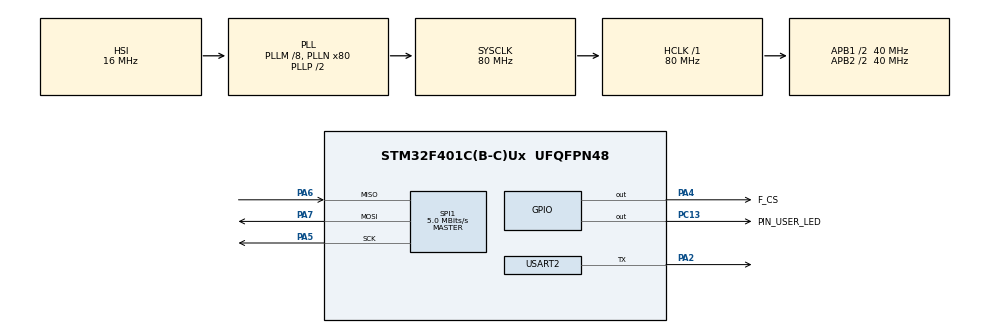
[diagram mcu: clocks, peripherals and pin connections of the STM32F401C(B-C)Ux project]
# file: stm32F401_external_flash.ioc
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Mcu.Family=STM32F4
Mcu.Name=STM32F401C(B-C)Ux
Mcu.Package=UFQFPN48
NVIC.PriorityGroup=NVIC_PRIORITYGROUP_4
PA13.Mode=Serial_Wire
PA13.Signal=SYS_JTMS-SWDIO
PA14.Mode=Serial_Wire
PA14.Signal=SYS_JTCK-SWCLK
PA2.Mode=Half_duplex(single_wire_mode)
PA2.Signal=USART2_TX
PA4.GPIO_Label=F_CS
PA4.GPIO_PuPd=GPIO_NOPULL
PA4.GPIO_Speed=GPIO_SPEED_FREQ_VERY_HIGH
PA4.PinState=GPIO_PIN_SET
PA4.Signal=GPIO_Output
PA5.Mode=Full_Duplex_Master
PA5.Signal=SPI1_SCK
PA6.Mode=Full_Duplex_Master
PA6.Signal=SPI1_MISO
PA7.Mode=Full_Duplex_Master
PA7.Signal=SPI1_MOSI
PC13-ANTI_TAMP.GPIO_Label=PIN_USER_LED
PC13-ANTI_TAMP.Signal=GPIO_Output
ProjectManager.HeapSize=0x200
ProjectManager.StackSize=0x400
ProjectManager.TargetToolchain=STM32CubeIDE
RCC.48MHZClocksFreq_Value=40000000
RCC.AHBFreq_Value=80000000
RCC.APB1CLKDivider=RCC_HCLK_DIV2
RCC.APB1Freq_Value=40000000
RCC.APB1TimFreq_Value=80000000
RCC.APB2CLKDivider=RCC_HCLK_DIV2
RCC.APB2Freq_Value=40000000
RCC.APB2TimFreq_Value=80000000
RCC.CortexFreq_Value=80000000
RCC.HCLKFreq_Value=80000000
RCC.HSE_VALUE=25000000
RCC.HSI_VALUE=16000000
RCC.LSE_VALUE=32768
RCC.PLLM=8
RCC.PLLN=80
RCC.SYSCLKFreq_VALUE=80000000
RCC.SYSCLKSource=RCC_SYSCLKSOURCE_PLLCLK
RCC.VCOOutputFreq_Value=160000000
SPI1.BaudRatePrescaler=SPI_BAUDRATEPRESCALER_8
SPI1.CLKPhase=SPI_PHASE_1EDGE
SPI1.CLKPolarity=SPI_POLARITY_LOW
SPI1.CalculateBaudRate=5.0 MBits/s
SPI1.Direction=SPI_DIRECTION_2LINES
SPI1.Mode=SPI_MODE_MASTER
SPI1.VirtualType=VM_MASTER
USART2.Mode=MODE_TX
USART2.Parity=PARITY_EVEN
USART2.VirtualMode=VM_ASYNC
board=custom

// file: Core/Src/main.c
/* USER CODE BEGIN Header */
/**
 ******************************************************************************
 * @file           : main.c
 * @brief          : Main program body
 ******************************************************************************
 * @attention
 *
 * Copyright (c) 2022 STMicroelectronics.
 * All rights reserved.
 *
 * This software is licensed under terms that can be found in the LICENSE file
 * in the root directory of this software component.
 * If no LICENSE file comes with this software, it is provided AS-IS.
 *
 ******************************************************************************
 */
/* USER CODE END Header */
#include "main.h"

SPI_HandleTypeDef hspi1;

UART_HandleTypeDef huart2;

void SystemClock_Config(void);
static void MX_GPIO_Init(void);
static void MX_USART2_UART_Init(void);
static void MX_SPI1_Init(void);

/* USER CODE BEGIN 0 */
#include <stdio.h>
#include "w25qxx.h"

int BUFFER_SIZE = 8;
uint8_t buffer1[] = { 1, 2, 3, 4, 5, 6, 7, 8 };
uint8_t buffer2[8];

#ifdef __GNUC__
/* With GCC, small printf (option LD Linker->Libraries->Small printf
 set to 'Yes') calls __io_putchar() */
#define PUTCHAR_PROTOTYPE int __io_putchar(int ch)
#else
#define PUTCHAR_PROTOTYPE int fputc(int ch, FILE *f)
#endif /* __GNUC__ */

//must have this to print in uart com port
PUTCHAR_PROTOTYPE {
	// Place your implementation of fputc here
	// e.g. write a character to the EVAL_COM1 and Loop until the end of transmission
	HAL_UART_Transmit(&huart2, (uint8_t*) &ch, 1, 0xFFFF);

	return ch;
}

void print_buff(const uint8_t *p, int size) {
	int i = 0;
	for (i = 0; i < size; i++) {

		printf("%u ", p[i]);
	}
}

/* USER CODE END 0 */

int main(void) {

	/* MCU Configuration--------------------------------------------------------*/

	/* Reset of all peripherals, Initializes the Flash interface and the Systick. */
	HAL_Init();

	/* Configure the system clock */
	SystemClock_Config();

	/* Initialize all configured peripherals */
	MX_GPIO_Init();
	MX_USART2_UART_Init();
	MX_SPI1_Init();
	/* USER CODE BEGIN 2 */

	HAL_Delay(200);

	HAL_GPIO_WritePin(F_CS_GPIO_Port, F_CS_Pin, GPIO_PIN_RESET);
	printf("go low\n");
	///printf("while looping\n\r");
	HAL_Delay(300);
	HAL_GPIO_WritePin(F_CS_GPIO_Port, F_CS_Pin, GPIO_PIN_SET);
	printf("go HI\n");
	HAL_Delay(100);

	/* USER CODE END 2 */

	/* Infinite loop */
	/* USER CODE BEGIN WHILE */
	printf("about to init flash lib\n");

	int r = W25qxx_Init();
	if (r == 0) {
		printf("flash init success\n\r");

	}
	printf("W25Qx_Para.FLASH_ID  %u\n", w25qxx.ID);
	if (W25Q32 == w25qxx.ID) {
		printf("W25Q32, size 32Mbit!!\n\r");
	}

	/*
	 if(W25Qx_Para.FLASH_ID < W25Q80 || W25Qx_Para.FLASH_ID > W25Q128)
	 {
	 // SPI Flash ID Error
	 printf("error");
	 }
	 if (W25Q32==W25Qx_Para.FLASH_ID)
	 {
	 printf("W25Q32, size 32Mbit!!\n\r");
	 }
	 */
	HAL_GPIO_WritePin(F_CS_GPIO_Port, F_CS_Pin, GPIO_PIN_RESET);

	W25qxx_EraseSector(1); //W25qxx_EraseChip();

	printf("erase done\n");
	W25qxx_WriteSector(buffer1, 1, 0, 8);
	W25qxx_ReadSector(buffer2, 1, 0, 8);

	printf("buff is ");
	print_buff(buffer2, BUFFER_SIZE);
	printf("about to while(1) \n\r");

	while (1) {

		/* USER CODE END WHILE */

	}
}

void SystemClock_Config(void) {
	RCC_OscInitTypeDef RCC_OscInitStruct = { 0 };
	RCC_ClkInitTypeDef RCC_ClkInitStruct = { 0 };

	/** Configure the main internal regulator output voltage
	 */
	__HAL_RCC_PWR_CLK_ENABLE();
	__HAL_PWR_VOLTAGESCALING_CONFIG(PWR_REGULATOR_VOLTAGE_SCALE2);

	/** Initializes the RCC Oscillators according to the specified parameters
	 * in the RCC_OscInitTypeDef structure.
	 */
	RCC_OscInitStruct.OscillatorType = RCC_OSCILLATORTYPE_HSI;
	RCC_OscInitStruct.HSIState = RCC_HSI_ON;
	RCC_OscInitStruct.HSICalibrationValue = RCC_HSICALIBRATION_DEFAULT;
	RCC_OscInitStruct.PLL.PLLState = RCC_PLL_ON;
	RCC_OscInitStruct.PLL.PLLSource = RCC_PLLSOURCE_HSI;
	RCC_OscInitStruct.PLL.PLLM = 8;
	RCC_OscInitStruct.PLL.PLLN = 80;
	RCC_OscInitStruct.PLL.PLLP = RCC_PLLP_DIV2;
	RCC_OscInitStruct.PLL.PLLQ = 4;
	if (HAL_RCC_OscConfig(&RCC_OscInitStruct) != HAL_OK) {
		Error_Handler();
	}

	/** Initializes the CPU, AHB and APB buses clocks
	 */
	RCC_ClkInitStruct.ClockType = RCC_CLOCKTYPE_HCLK | RCC_CLOCKTYPE_SYSCLK
			| RCC_CLOCKTYPE_PCLK1 | RCC_CLOCKTYPE_PCLK2;
	RCC_ClkInitStruct.SYSCLKSource = RCC_SYSCLKSOURCE_PLLCLK;
	RCC_ClkInitStruct.AHBCLKDivider = RCC_SYSCLK_DIV1;
	RCC_ClkInitStruct.APB1CLKDivider = RCC_HCLK_DIV2;
	RCC_ClkInitStruct.APB2CLKDivider = RCC_HCLK_DIV2;

	if (HAL_RCC_ClockConfig(&RCC_ClkInitStruct, FLASH_LATENCY_2) != HAL_OK) {
		Error_Handler();
	}
}

static void MX_SPI1_Init(void) {

	/* SPI1 parameter configuration*/
	hspi1.Instance = SPI1;
	hspi1.Init.Mode = SPI_MODE_MASTER;
	hspi1.Init.Direction = SPI_DIRECTION_2LINES;
	hspi1.Init.DataSize = SPI_DATASIZE_8BIT;
	hspi1.Init.CLKPolarity = SPI_POLARITY_LOW;
	hspi1.Init.CLKPhase = SPI_PHASE_1EDGE;
	hspi1.Init.NSS = SPI_NSS_SOFT;
	hspi1.Init.BaudRatePrescaler = SPI_BAUDRATEPRESCALER_8;
	hspi1.Init.FirstBit = SPI_FIRSTBIT_MSB;
	hspi1.Init.TIMode = SPI_TIMODE_DISABLE;
	hspi1.Init.CRCCalculation = SPI_CRCCALCULATION_DISABLE;
	hspi1.Init.CRCPolynomial = 10;
	if (HAL_SPI_Init(&hspi1) != HAL_OK) {
		Error_Handler();
	}

}

static void MX_USART2_UART_Init(void) {

	huart2.Instance = USART2;
	huart2.Init.BaudRate = 115200;
	huart2.Init.WordLength = UART_WORDLENGTH_8B;
	huart2.Init.StopBits = UART_STOPBITS_1;
	huart2.Init.Parity = UART_PARITY_EVEN;
	huart2.Init.Mode = UART_MODE_TX;
	huart2.Init.HwFlowCtl = UART_HWCONTROL_NONE;
	huart2.Init.OverSampling = UART_OVERSAMPLING_16;
	if (HAL_HalfDuplex_Init(&huart2) != HAL_OK) {
		Error_Handler();
	}

}

static void MX_GPIO_Init(void) {
	GPIO_InitTypeDef GPIO_InitStruct = { 0 };

	/* GPIO Ports Clock Enable */
	__HAL_RCC_GPIOC_CLK_ENABLE();
	__HAL_RCC_GPIOA_CLK_ENABLE();

	/*Configure GPIO pin Output Level */
	HAL_GPIO_WritePin(PIN_USER_LED_GPIO_Port, PIN_USER_LED_Pin, GPIO_PIN_RESET);

	/*Configure GPIO pin Output Level */
	HAL_GPIO_WritePin(F_CS_GPIO_Port, F_CS_Pin, GPIO_PIN_SET);

	/*Configure GPIO pin : PIN_USER_LED_Pin */
	GPIO_InitStruct.Pin = PIN_USER_LED_Pin;
	GPIO_InitStruct.Mode = GPIO_MODE_OUTPUT_PP;
	GPIO_InitStruct.Pull = GPIO_NOPULL;
	GPIO_InitStruct.Speed = GPIO_SPEED_FREQ_LOW;
	HAL_GPIO_Init(PIN_USER_LED_GPIO_Port, &GPIO_InitStruct);

	/*Configure GPIO pin : F_CS_Pin */
	GPIO_InitStruct.Pin = F_CS_Pin;
	GPIO_InitStruct.Mode = GPIO_MODE_OUTPUT_PP;
	GPIO_InitStruct.Pull = GPIO_NOPULL;
	GPIO_InitStruct.Speed = GPIO_SPEED_FREQ_VERY_HIGH;
	HAL_GPIO_Init(F_CS_GPIO_Port, &GPIO_InitStruct);

}

void Error_Handler(void) {
	/* USER CODE BEGIN Error_Handler_Debug */
	printf("error_handler()");

	/* User can add his own implementation to report the HAL error return state */
	__disable_irq();
	while (1) {
	}
	/* USER CODE END Error_Handler_Debug */
}
